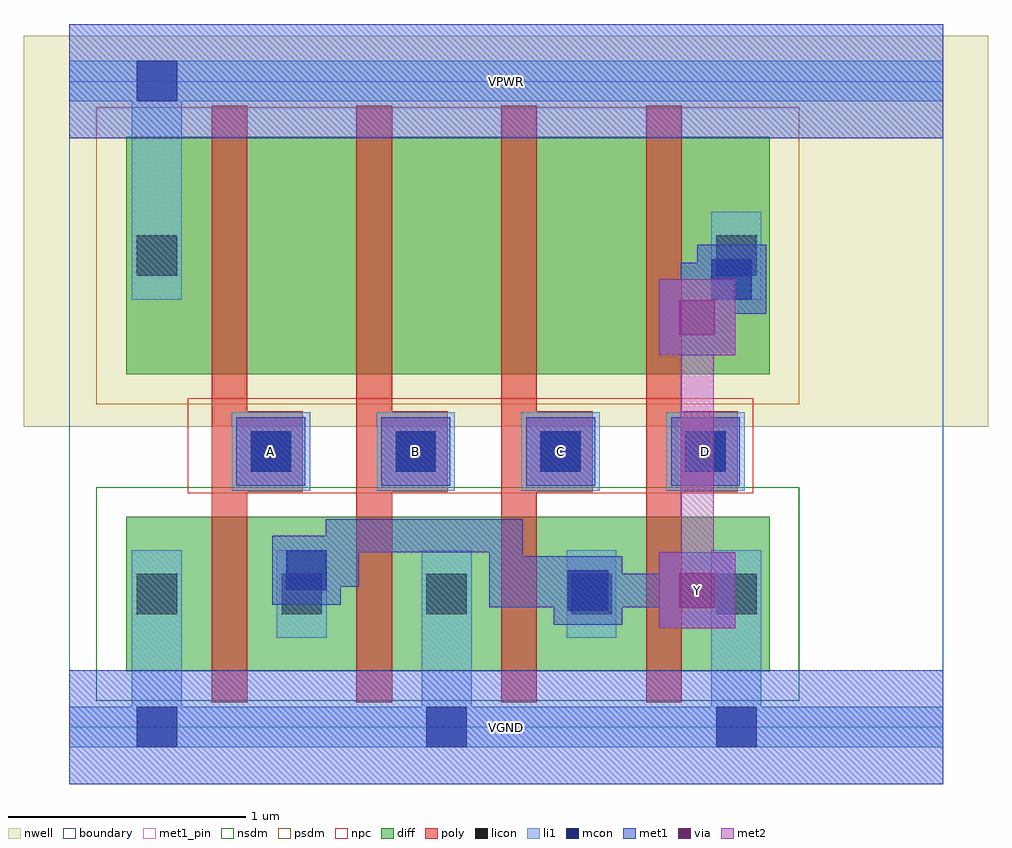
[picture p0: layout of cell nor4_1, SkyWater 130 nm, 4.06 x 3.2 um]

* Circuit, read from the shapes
.subckt nor4_1 A B C D VGND VPWR Y
XM1 Y A VGND VSUBS sky130_fd_pr__nfet_01v8 w=0.65 l=0.15
XM2 VGND B Y VSUBS sky130_fd_pr__nfet_01v8 w=0.65 l=0.15
XM3 Y C VGND VSUBS sky130_fd_pr__nfet_01v8 w=0.65 l=0.15
XM4 VGND D Y VSUBS sky130_fd_pr__nfet_01v8 w=0.65 l=0.15
XM5 n1 A VPWR n2 sky130_fd_pr__pfet_01v8 w=1 l=0.15
XM6 n3 B n1 n2 sky130_fd_pr__pfet_01v8 w=1 l=0.15
XM7 n4 C n3 n2 sky130_fd_pr__pfet_01v8 w=1 l=0.15
XM8 Y D n4 n2 sky130_fd_pr__pfet_01v8 w=1 l=0.15
.ends

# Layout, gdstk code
import gdstk
lib = gdstk.Library(unit=1e-6, precision=1e-09)
def R(c, l, rs):  # rectangles x0, y0, x1, y1
    for r in rs: c.add(gdstk.rectangle(r[:2], r[2:], *l))
def A(c, l, x, y, w, h, nx, ny, dx, dy):  # array of equal rectangles
    R(c, l, [(x+i*dx, y+j*dy, x+i*dx+w, y+j*dy+h) for i in range(nx) for j in range(ny)])
nwell = (64, 20)
diff = (65, 20)
poly = (66, 20)
licon = (66, 44)
li1 = (67, 20)
mcon = (67, 44)
met1_pin = (68, 16)
met1 = (68, 20)
via = (68, 44)
met2 = (69, 20)
nsdm = (93, 44)
psdm = (94, 20)
npc = (95, 20)
boundary = (235, 4)

nor4_1 = lib.new_cell('nor4_1')
R(nor4_1, nwell, [(-0.19,1.265,3.87,2.91), (0,1.265,3.68,2.91)])
R(nor4_1, diff, [(0.24,0.235,2.95,0.885), (0.24,1.485,2.95,2.485)])
A(nor4_1, poly, 0.6, 0.105, 0.15, 2.51, 4, 1, 0.61, 0)
A(nor4_1, poly, 0.6, 0.99, 0.385, 0.34, 4, 1, 0.61, 0)
A(nor4_1, licon, 0.285, 0.475, 0.17, 0.17, 5, 1, 0.61, 0)
A(nor4_1, licon, 0.765, 1.075, 0.17, 0.17, 4, 1, 0.61, 0)
R(nor4_1, licon, [(0.285,1.9,0.455,2.07), (2.725,1.9,2.895,2.07)])
A(nor4_1, li1, 0.265, -0.085, 0.21, 0.83, 3, 1, 1.22, 0)
A(nor4_1, li1, 0.685, 0.995, 0.33, 0.33, 4, 1, 0.61, 0)
R(nor4_1, li1, [(0,-0.085,3.68,0.085), (0.875,0.375,1.085,0.745), (2.095,0.375,2.305,0.745), (0.265,1.8,0.475,2.805), (2.705,1.8,2.915,2.17), (0,2.635,3.68,2.805)])
A(nor4_1, mcon, 0.285, -0.085, 0.17, 0.17, 3, 1, 1.22, 0)
A(nor4_1, mcon, 0.765, 1.075, 0.17, 0.17, 4, 1, 0.61, 0)
R(nor4_1, mcon, [(2.1,0.49,2.27,0.66), (0.915,0.575,1.085,0.745), (2.705,1.8,2.875,1.97), (0.285,2.635,0.455,2.805)])
A(nor4_1, met1_pin, 0.705, 1.015, 0.29, 0.29, 4, 1, 0.61, 0)
R(nor4_1, met1_pin, [(0,-0.24,3.68,0.24), (2.485,0.415,2.805,0.735), (0,2.48,3.68,2.96)])
A(nor4_1, met1, 0.705, 1.015, 0.29, 0.29, 4, 1, 0.61, 0)
R(nor4_1, met1, [(0,-0.24,3.68,0.24), (2.485,0.415,2.805,0.735), (2.04,0.43,2.33,0.72), (1.77,0.505,2.255,0.645), (1.77,0.505,1.91,0.875), (1.91,0.505,2.04,0.72), (2.115,0.505,2.715,0.645), (0.855,0.515,1.145,0.805), (0.93,0.59,1.22,0.73), (1.08,0.59,1.22,0.875), (1.08,0.735,1.91,0.875), (2.485,1.565,2.805,1.885), (2.575,1.655,2.715,1.955), (2.645,1.74,2.935,2.03), (2.575,1.815,2.86,1.955), (0,2.48,3.68,2.96)])
R(nor4_1, via, [(2.57,0.5,2.72,0.65), (2.57,1.65,2.72,1.8)])
R(nor4_1, met2, [(2.485,0.415,2.805,0.735), (2.575,0.505,2.715,1.795), (2.485,1.565,2.805,1.885)])
R(nor4_1, nsdm, [(0.115,0.11,3.075,1.01)])
R(nor4_1, psdm, [(0.115,1.36,3.075,2.61)])
R(nor4_1, npc, [(0.5,0.985,2.88,1.385)])
R(nor4_1, boundary, [(0,0,3.68,2.72)])
nor4_1.add(gdstk.Label('A', (0.85,1.16), layer=68, texttype=5))
nor4_1.add(gdstk.Label('B', (1.46,1.16), layer=68, texttype=5))
nor4_1.add(gdstk.Label('C', (2.07,1.16), layer=68, texttype=5))
nor4_1.add(gdstk.Label('D', (2.68,1.16), layer=68, texttype=5))
nor4_1.add(gdstk.Label('Y', (2.645,0.575), layer=68, texttype=5))
nor4_1.add(gdstk.Label('VPWR', (1.84,2.72), layer=68, texttype=5))
nor4_1.add(gdstk.Label('VGND', (1.84,0), layer=68, texttype=5))
nor4_1.add(gdstk.Label('A', (0.85,1.16), layer=68, texttype=16))
nor4_1.add(gdstk.Label('B', (1.46,1.16), layer=68, texttype=16))
nor4_1.add(gdstk.Label('C', (2.07,1.16), layer=68, texttype=16))
nor4_1.add(gdstk.Label('D', (2.68,1.16), layer=68, texttype=16))
nor4_1.add(gdstk.Label('Y', (2.645,0.575), layer=68, texttype=16))
nor4_1.add(gdstk.Label('VPWR', (1.84,2.72), layer=68, texttype=16))
nor4_1.add(gdstk.Label('VGND', (1.84,0), layer=68, texttype=16))

lib.write_gds('nor4_1.gds')
